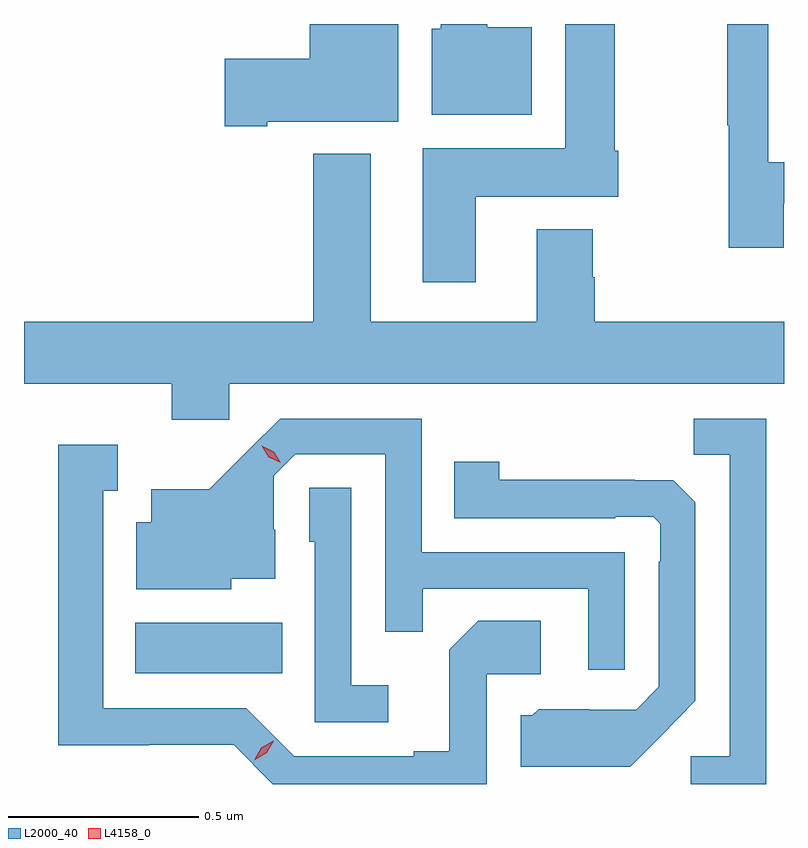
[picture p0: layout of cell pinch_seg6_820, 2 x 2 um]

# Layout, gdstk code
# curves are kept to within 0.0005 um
import gdstk
lib = gdstk.Library(unit=1e-6, precision=1e-09)
def R(c, l, rs):  # rectangles x0, y0, x1, y1
    for r in rs: c.add(gdstk.rectangle(r[:2], r[2:], *l))
def P(c, l, *ps):  # polygons
    for p in ps: c.add(gdstk.Polygon(p, *l))
L2000_40 = (2000, 40)
L4158_0 = (4158, 0)

pinch_seg6_820 = lib.new_cell('pinch_seg6_820')
R(pinch_seg6_820, L2000_40, [(165.563,990.53,165.95,990.664)])
P(pinch_seg6_820, L2000_40, [(167.269,991.767),(167.27,991.767),(167.27,991.875),(167.229,991.875),(167.229,992.239),(167.121,992.239),(167.121,991.972),(167.125,991.972),(167.125,991.65),(167.269,991.65)],
  [(166.606,992.23),(166.489,992.23),(166.489,992.239),(166.367,992.239),(166.367,992.226),(166.343,992.226),(166.343,992),(166.606,992)],
  [(165.91,991.982),(166.255,991.982),(166.255,992.239),(166.022,992.239),(166.022,992.148),(165.798,992.148),(165.798,991.97),(165.91,991.97)],
  [(166.459,991.784),(166.834,991.784),(166.834,991.905),(166.824,991.905),(166.824,992.239),(166.694,992.239),(166.694,991.912),(166.319,991.912),(166.319,991.56),(166.459,991.56)],
  [(165.27,991.292),(165.659,991.292),(165.659,991.197),(165.81,991.197),(165.81,991.292),(167.27,991.292),(167.27,991.456),(166.772,991.456),(166.772,991.572),(166.767,991.572),(166.767,991.699),(166.619,991.699),(166.619,991.456),(166.183,991.456),(166.183,991.897),(166.031,991.897),(166.031,991.456),(165.27,991.456)],
  [(167.223,991.2),(167.032,991.2),(167.032,991.105),(167.127,991.105),(167.127,990.312),(167.025,990.312),(167.025,990.239),(167.223,990.239)],
  [(166.851,990.849),(166.317,990.849),(166.317,991.2),(165.944,991.2),(165.757,991.015),(165.605,991.015),(165.605,990.928),(165.566,990.928),(165.566,990.752),(165.816,990.752),(165.816,990.779),(165.931,990.779),(165.931,990.908),(165.927,990.908),(165.927,991.05),(165.984,991.107),(166.221,991.107),(166.221,990.64),(166.319,990.64),(166.319,990.753),(166.755,990.753),(166.755,990.54),(166.851,990.54)],
  [(166.488,990.528),(166.63,990.528),(166.63,990.668),(166.465,990.668),(166.389,990.592),(166.389,990.325),(166.295,990.325),(166.295,990.312),(165.981,990.312),(165.855,990.438),(165.478,990.438),(165.478,991.011),(165.517,991.011),(165.517,991.132),(165.36,991.132),(165.36,990.341),(165.6,990.341),(165.6,990.342),(165.822,990.342),(165.925,990.239),(166.488,990.239)],
  [(166.945,990.365),(167.037,990.458),(167.037,990.98),(166.978,991.039),(166.877,991.039),(166.877,991.04),(166.521,991.04),(166.521,991.087),(166.402,991.087),(166.402,990.939),(166.826,990.939),(166.826,990.942),(166.926,990.942),(166.944,990.924),(166.944,990.824),(166.941,990.824),(166.941,990.495),(166.881,990.435),(166.758,990.435),(166.758,990.436),(166.624,990.436),(166.608,990.42),(166.577,990.42),(166.577,990.284),(166.865,990.284)],
  [(166.228,990.499),(166.131,990.499),(166.131,991.019),(166.02,991.019),(166.02,990.876),(166.035,990.876),(166.035,990.402),(166.228,990.402)])
P(pinch_seg6_820, L4158_0, [(165.945,991.084),(165.914,991.099),(165.896,991.129),(165.896,991.129),(165.896,991.129),(165.927,991.114),(165.945,991.085),(165.945,991.084)],
  [(165.876,990.302),(165.876,990.302),(165.894,990.335),(165.926,990.353),(165.927,990.353),(165.927,990.353),(165.909,990.321),(165.876,990.302)])

lib.write_gds('pinch_seg6_820.gds')
